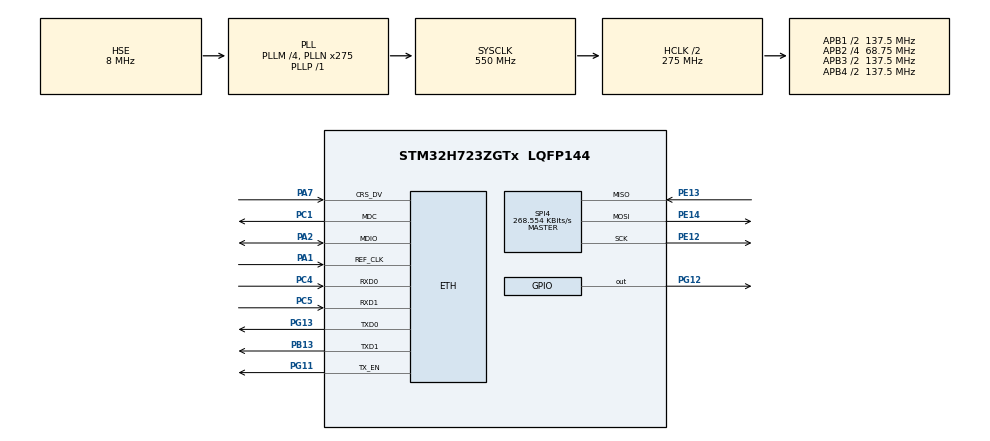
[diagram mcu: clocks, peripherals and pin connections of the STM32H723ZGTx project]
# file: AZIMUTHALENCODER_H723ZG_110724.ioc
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CORTEX_M7.AccessPermission-Cortex_Memory_Protection_Unit_Region1_Settings=MPU_REGION_FULL_ACCESS
CORTEX_M7.AccessPermission-Cortex_Memory_Protection_Unit_Region2_Settings=MPU_REGION_FULL_ACCESS
CORTEX_M7.BaseAddress-Cortex_Memory_Protection_Unit_Region1_Settings=0x30000000
CORTEX_M7.BaseAddress-Cortex_Memory_Protection_Unit_Region2_Settings=0x30000200
CORTEX_M7.CPU_DCache=Enabled
CORTEX_M7.CPU_ICache=Enabled
CORTEX_M7.DisableExec-Cortex_Memory_Protection_Unit_Region0_Settings=MPU_INSTRUCTION_ACCESS_DISABLE
CORTEX_M7.DisableExec-Cortex_Memory_Protection_Unit_Region1_Settings=MPU_INSTRUCTION_ACCESS_DISABLE
CORTEX_M7.DisableExec-Cortex_Memory_Protection_Unit_Region2_Settings=MPU_INSTRUCTION_ACCESS_DISABLE
CORTEX_M7.Enable-Cortex_Memory_Protection_Unit_Region0_Settings=MPU_REGION_ENABLE
CORTEX_M7.Enable-Cortex_Memory_Protection_Unit_Region1_Settings=MPU_REGION_ENABLE
CORTEX_M7.Enable-Cortex_Memory_Protection_Unit_Region2_Settings=MPU_REGION_ENABLE
CORTEX_M7.IsBufferable-Cortex_Memory_Protection_Unit_Region1_Settings=MPU_ACCESS_BUFFERABLE
CORTEX_M7.IsShareable-Cortex_Memory_Protection_Unit_Region0_Settings=MPU_ACCESS_SHAREABLE
CORTEX_M7.IsShareable-Cortex_Memory_Protection_Unit_Region1_Settings=MPU_ACCESS_SHAREABLE
CORTEX_M7.IsShareable-Cortex_Memory_Protection_Unit_Region2_Settings=MPU_ACCESS_NOT_SHAREABLE
CORTEX_M7.MPU_Control=MPU_PRIVILEGED_DEFAULT
CORTEX_M7.Size-Cortex_Memory_Protection_Unit_Region0_Settings=MPU_REGION_SIZE_4GB
CORTEX_M7.Size-Cortex_Memory_Protection_Unit_Region1_Settings=MPU_REGION_SIZE_1KB
CORTEX_M7.Size-Cortex_Memory_Protection_Unit_Region2_Settings=MPU_REGION_SIZE_64KB
CORTEX_M7.SubRegionDisable-Cortex_Memory_Protection_Unit_Region0_Settings=0x87
CORTEX_M7.TypeExtField-Cortex_Memory_Protection_Unit_Region1_Settings=MPU_TEX_LEVEL0
CORTEX_M7.TypeExtField-Cortex_Memory_Protection_Unit_Region2_Settings=MPU_TEX_LEVEL1
Dma.Request0=SPI4_TX
Dma.Request1=SPI4_RX
Dma.SPI4_RX.1.Direction=DMA_PERIPH_TO_MEMORY
Dma.SPI4_RX.1.EventEnable=DISABLE
Dma.SPI4_RX.1.FIFOMode=DMA_FIFOMODE_DISABLE
Dma.SPI4_RX.1.Instance=DMA1_Stream1
Dma.SPI4_RX.1.MemDataAlignment=DMA_MDATAALIGN_HALFWORD
Dma.SPI4_RX.1.MemInc=DMA_MINC_ENABLE
Dma.SPI4_RX.1.Mode=DMA_NORMAL
Dma.SPI4_RX.1.PeriphDataAlignment=DMA_PDATAALIGN_HALFWORD
Dma.SPI4_RX.1.PeriphInc=DMA_PINC_DISABLE
Dma.SPI4_RX.1.Polarity=HAL_DMAMUX_REQ_GEN_RISING
Dma.SPI4_RX.1.Priority=DMA_PRIORITY_VERY_HIGH
Dma.SPI4_RX.1.RequestNumber=1
Dma.SPI4_RX.1.SignalID=NONE
Dma.SPI4_RX.1.SyncEnable=DISABLE
Dma.SPI4_RX.1.SyncPolarity=HAL_DMAMUX_SYNC_NO_EVENT
Dma.SPI4_RX.1.SyncRequestNumber=1
Dma.SPI4_RX.1.SyncSignalID=NONE
Dma.SPI4_TX.0.Direction=DMA_MEMORY_TO_PERIPH
Dma.SPI4_TX.0.EventEnable=DISABLE
Dma.SPI4_TX.0.FIFOMode=DMA_FIFOMODE_DISABLE
Dma.SPI4_TX.0.Instance=DMA1_Stream0
Dma.SPI4_TX.0.MemDataAlignment=DMA_MDATAALIGN_HALFWORD
Dma.SPI4_TX.0.MemInc=DMA_MINC_ENABLE
Dma.SPI4_TX.0.Mode=DMA_NORMAL
Dma.SPI4_TX.0.PeriphDataAlignment=DMA_PDATAALIGN_HALFWORD
Dma.SPI4_TX.0.PeriphInc=DMA_PINC_DISABLE
Dma.SPI4_TX.0.Polarity=HAL_DMAMUX_REQ_GEN_RISING
Dma.SPI4_TX.0.Priority=DMA_PRIORITY_VERY_HIGH
Dma.SPI4_TX.0.RequestNumber=1
Dma.SPI4_TX.0.SignalID=NONE
Dma.SPI4_TX.0.SyncEnable=DISABLE
Dma.SPI4_TX.0.SyncPolarity=HAL_DMAMUX_SYNC_NO_EVENT
Dma.SPI4_TX.0.SyncRequestNumber=1
Dma.SPI4_TX.0.SyncSignalID=NONE
ETH.MediaInterface=HAL_ETH_RMII_MODE
ETH.TxDescAddress=0x30000100
FREERTOS.INCLUDE_vTaskDelayUntil=1
FREERTOS.Tasks01=defaultTask,0,256,StartDefaultTask,Default,NULL,Dynamic,NULL,NULL;ethernetTask,2,256,startEthernetTask,Default,NULL,Dynamic,NULL,NULL
FREERTOS.configUSE_NEWLIB_REENTRANT=1
LWIP.BSP.number=1
LWIP.GATEWAY_ADDRESS=010.020.001.001
LWIP.IP_ADDRESS=010.020.003.002
LWIP.LWIP_DHCP=0
LWIP.LWIP_RAM_HEAP_POINTER=0x30000200
LWIP.MEM_SIZE=32232
LWIP.NETMASK_ADDRESS=255.255.000.000
LWIP.TCP_MSS=1460
LWIP.TCP_SND_BUF=5840
LWIP.TCP_SND_QUEUELEN=16
LWIP.Version=v2.1.2_Cube
LWIP0.BSP.STBoard=false
LWIP0.BSP.api=BSP_COMPONENT_DRIVER
LWIP0.BSP.component=LAN8742
LWIP0.BSP.instance=LAN8742
LWIP0.BSP.name=Driver_PHY
LWIP0.BSP.semaphore=S_LAN8742
LWIP0.BSP.solution=LAN8742
Mcu.Family=STM32H7
Mcu.Name=STM32H723ZGTx
Mcu.Package=LQFP144
NVIC.DMA1_Stream0_IRQn=true\:5\:0\:false\:false\:true\:true\:false\:true\:true
NVIC.DMA1_Stream1_IRQn=true\:5\:0\:false\:false\:true\:true\:false\:true\:true
NVIC.ETH_IRQn=true\:5\:0\:false\:false\:true\:true\:true\:true\:true
NVIC.PriorityGroup=NVIC_PRIORITYGROUP_4
NVIC.SPI4_IRQn=true\:5\:0\:false\:false\:true\:true\:false\:true\:true
NVIC.TIM2_IRQn=true\:0\:0\:false\:false\:true\:false\:true\:true\:true
NVIC.TIM6_DAC_IRQn=true\:15\:0\:false\:false\:true\:false\:false\:true\:true
NVIC.TimeBase=TIM6_DAC_IRQn
NVIC.TimeBaseIP=TIM6
PA1.Mode=RMII
PA1.Signal=ETH_REF_CLK
PA2.Mode=RMII
PA2.Signal=ETH_MDIO
PA7.Mode=RMII
PA7.Signal=ETH_CRS_DV
PB13.Mode=RMII
PB13.Signal=ETH_TXD1
PC1.Mode=RMII
PC1.Signal=ETH_MDC
PC4.Mode=RMII
PC4.Signal=ETH_RXD0
PC5.Mode=RMII
PC5.Signal=ETH_RXD1
PE12.Mode=Full_Duplex_Master
PE12.Signal=SPI4_SCK
PE13.Mode=Full_Duplex_Master
PE13.Signal=SPI4_MISO
PE14.Mode=Full_Duplex_Master
PE14.Signal=SPI4_MOSI
PG11.Mode=RMII
PG11.Signal=ETH_TX_EN
PG12.Signal=GPIO_Output
PG13.Mode=RMII
PG13.Signal=ETH_TXD0
PH0-OSC_IN.Mode=HSE-External-Clock-Source
PH0-OSC_IN.Signal=RCC_OSC_IN
ProjectManager.HeapSize=0x200
ProjectManager.StackSize=0x400
ProjectManager.TargetToolchain=STM32CubeIDE
RCC.ADCFreq_Value=76000000
RCC.APB1Freq_Value=137500000
RCC.APB2Freq_Value=68750000
RCC.APB3Freq_Value=137500000
RCC.APB4Freq_Value=137500000
RCC.CortexFreq_Value=550000000
RCC.D1PPRE=RCC_APB3_DIV2
RCC.D2PPRE1=RCC_APB1_DIV2
RCC.D2PPRE2=RCC_APB2_DIV4
RCC.D3PPRE=RCC_APB4_DIV2
RCC.DIVM1=4
RCC.DIVM2=1
RCC.DIVN1=275
RCC.DIVN2=19
RCC.DIVP1=1
RCC.DIVQ1=4
RCC.HCLKFreq_Value=275000000
RCC.HPRE=RCC_HCLK_DIV2
RCC.HSE_VALUE=8000000
RCC.PLLFRACN=0
RCC.PLLSourceVirtual=RCC_PLLSOURCE_HSE
RCC.SYSCLKFreq_VALUE=550000000
RCC.SYSCLKSource=RCC_SYSCLKSOURCE_PLLCLK
RCC.USBCLockSelection=RCC_USBCLKSOURCE_HSI48
RCC.USBFreq_Value=48000000
SPI4.BaudRatePrescaler=SPI_BAUDRATEPRESCALER_256
SPI4.CLKPhase=SPI_PHASE_2EDGE
SPI4.CalculateBaudRate=268.554 KBits/s
SPI4.DataSize=SPI_DATASIZE_16BIT
SPI4.Direction=SPI_DIRECTION_2LINES
SPI4.MasterKeepIOState=SPI_MASTER_KEEP_IO_STATE_ENABLE
SPI4.Mode=SPI_MODE_MASTER
SPI4.VirtualType=VM_MASTER
TIM1.Channel-Output\ Compare1\ No\ Output=TIM_CHANNEL_1
TIM1.Prescaler=1375-1
TIM2.Channel-PWM\ Generation1\ No\ Output=TIM_CHANNEL_1
TIM2.Period=1000-1
TIM2.Prescaler=275-1
TIM2.TIM_MasterOutputTrigger=TIM_TRGO_RESET
TIM23.Prescaler=275-1
VP_FREERTOS_VS_CMSIS_V1.Mode=CMSIS_V1
VP_LWIP_VS_Enabled.Mode=Enabled
VP_SYS_VS_tim6.Mode=TIM6
VP_TIM1_VS_ClockSourceINT.Mode=Internal
VP_TIM1_VS_no_output1.Mode=Output Compare1 No Output
VP_TIM23_VS_ClockSourceINT.Mode=Internal
VP_TIM2_VS_ClockSourceINT.Mode=Internal
VP_TIM2_VS_no_output1.Mode=PWM Generation1 No Output
board=NUCLEO-H723ZG

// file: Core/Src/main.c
/* USER CODE BEGIN Header */
/**
  ******************************************************************************
  * @file           : main.c
  * @brief          : Main program body
  ******************************************************************************
  * @attention
  *
  * Copyright (c) 2024 STMicroelectronics.
  * All rights reserved.
  *
  * This software is licensed under terms that can be found in the LICENSE file
  * in the root directory of this software component.
  * If no LICENSE file comes with this software, it is provided AS-IS.
  *
  ******************************************************************************
  */
/* USER CODE END Header */
#include "main.h"
#include "cmsis_os.h"
#include "lwip.h"

/* USER CODE BEGIN Includes */
#include "lwip/udp.h"
#include <string.h>
#include <stdbool.h>
//#include "udpClientRAW.h"

/* USER CODE END Includes */

SPI_HandleTypeDef hspi4;
DMA_HandleTypeDef hdma_spi4_tx;
DMA_HandleTypeDef hdma_spi4_rx;

TIM_HandleTypeDef htim1;
TIM_HandleTypeDef htim2;
TIM_HandleTypeDef htim23;

osThreadId defaultTaskHandle;
osThreadId ethernetTaskHandle;
/* USER CODE BEGIN PV */

uint16_t spiData[700];
uint16_t tempBuffer[601]; // 200 for value/value2, 200 for timer5val, 100 for 'f0f0' pattern, 1 for packet number

volatile uint16_t spiIndex = 0;
volatile uint32_t sampleNum = 0;

uint16_t txBuffer[3] = {0b1010101010101010, 0b1010101010101010, 0b1010101010111111};
uint16_t rxBuffer[3];

volatile uint16_t value;
volatile uint16_t value2;
volatile uint32_t timer23val;

/* USER CODE END PV */

void SystemClock_Config(void);
static void MPU_Config(void);
static void MX_GPIO_Init(void);
static void MX_DMA_Init(void);
static void MX_TIM2_Init(void);
static void MX_SPI4_Init(void);
static void MX_TIM23_Init(void);
static void MX_TIM1_Init(void);
void StartDefaultTask(void const * argument);
void startEthernetTask(void const * argument);

int main(void)
{

  /* MPU Configuration--------------------------------------------------------*/
  MPU_Config();

  /* Enable the CPU Cache */

  /* Enable I-Cache---------------------------------------------------------*/
  SCB_EnableICache();

  /* Enable D-Cache---------------------------------------------------------*/
  SCB_EnableDCache();

  /* MCU Configuration--------------------------------------------------------*/

  /* Reset of all peripherals, Initializes the Flash interface and the Systick. */
  HAL_Init();

  /* Configure the system clock */
  SystemClock_Config();

  /* Initialize all configured peripherals */
  MX_GPIO_Init();
  MX_DMA_Init();
  MX_TIM2_Init();
  MX_SPI4_Init();
  MX_TIM23_Init();
  MX_TIM1_Init();
  /* USER CODE BEGIN 2 */

  //connect to UDP socket on computer
//  udpClient_connect();

  //start Timer 1 and 2
//  HAL_TIM_Base_Start_IT(&htim2);

  /* USER CODE END 2 */

  /* Create the thread(s) */
  /* definition and creation of defaultTask */
  osThreadDef(defaultTask, StartDefaultTask, osPriorityNormal, 0, 256);
  defaultTaskHandle = osThreadCreate(osThread(defaultTask), NULL);

  /* definition and creation of ethernetTask */
  osThreadDef(ethernetTask, startEthernetTask, osPriorityHigh, 0, 256);
  ethernetTaskHandle = osThreadCreate(osThread(ethernetTask), NULL);

  /* Start scheduler */
  osKernelStart();

  /* We should never get here as control is now taken by the scheduler */

  /* Infinite loop */
  while (1)
  {

  }
}

void SystemClock_Config(void)
{
  RCC_OscInitTypeDef RCC_OscInitStruct = {0};
  RCC_ClkInitTypeDef RCC_ClkInitStruct = {0};

  /** Supply configuration update enable
  */
  HAL_PWREx_ConfigSupply(PWR_LDO_SUPPLY);

  /** Configure the main internal regulator output voltage
  */
  __HAL_PWR_VOLTAGESCALING_CONFIG(PWR_REGULATOR_VOLTAGE_SCALE0);

  while(!__HAL_PWR_GET_FLAG(PWR_FLAG_VOSRDY)) {}

  /** Initializes the RCC Oscillators according to the specified parameters
  * in the RCC_OscInitTypeDef structure.
  */
  RCC_OscInitStruct.OscillatorType = RCC_OSCILLATORTYPE_HSE;
  RCC_OscInitStruct.HSEState = RCC_HSE_BYPASS;
  RCC_OscInitStruct.PLL.PLLState = RCC_PLL_ON;
  RCC_OscInitStruct.PLL.PLLSource = RCC_PLLSOURCE_HSE;
  RCC_OscInitStruct.PLL.PLLM = 4;
  RCC_OscInitStruct.PLL.PLLN = 275;
  RCC_OscInitStruct.PLL.PLLP = 1;
  RCC_OscInitStruct.PLL.PLLQ = 4;
  RCC_OscInitStruct.PLL.PLLR = 2;
  RCC_OscInitStruct.PLL.PLLRGE = RCC_PLL1VCIRANGE_1;
  RCC_OscInitStruct.PLL.PLLVCOSEL = RCC_PLL1VCOWIDE;
  RCC_OscInitStruct.PLL.PLLFRACN = 0;
  if (HAL_RCC_OscConfig(&RCC_OscInitStruct) != HAL_OK)
  {
    Error_Handler();
  }

  /** Initializes the CPU, AHB and APB buses clocks
  */
  RCC_ClkInitStruct.ClockType = RCC_CLOCKTYPE_HCLK|RCC_CLOCKTYPE_SYSCLK
                              |RCC_CLOCKTYPE_PCLK1|RCC_CLOCKTYPE_PCLK2
                              |RCC_CLOCKTYPE_D3PCLK1|RCC_CLOCKTYPE_D1PCLK1;
  RCC_ClkInitStruct.SYSCLKSource = RCC_SYSCLKSOURCE_PLLCLK;
  RCC_ClkInitStruct.SYSCLKDivider = RCC_SYSCLK_DIV1;
  RCC_ClkInitStruct.AHBCLKDivider = RCC_HCLK_DIV2;
  RCC_ClkInitStruct.APB3CLKDivider = RCC_APB3_DIV2;
  RCC_ClkInitStruct.APB1CLKDivider = RCC_APB1_DIV2;
  RCC_ClkInitStruct.APB2CLKDivider = RCC_APB2_DIV4;
  RCC_ClkInitStruct.APB4CLKDivider = RCC_APB4_DIV2;

  if (HAL_RCC_ClockConfig(&RCC_ClkInitStruct, FLASH_LATENCY_3) != HAL_OK)
  {
    Error_Handler();
  }
}

static void MX_SPI4_Init(void)
{

  /* SPI4 parameter configuration*/
  hspi4.Instance = SPI4;
  hspi4.Init.Mode = SPI_MODE_MASTER;
  hspi4.Init.Direction = SPI_DIRECTION_2LINES;
  hspi4.Init.DataSize = SPI_DATASIZE_16BIT;
  hspi4.Init.CLKPolarity = SPI_POLARITY_LOW;
  hspi4.Init.CLKPhase = SPI_PHASE_2EDGE;
  hspi4.Init.NSS = SPI_NSS_SOFT;
  hspi4.Init.BaudRatePrescaler = SPI_BAUDRATEPRESCALER_256;
  hspi4.Init.FirstBit = SPI_FIRSTBIT_MSB;
  hspi4.Init.TIMode = SPI_TIMODE_DISABLE;
  hspi4.Init.CRCCalculation = SPI_CRCCALCULATION_DISABLE;
  hspi4.Init.CRCPolynomial = 0x0;
  hspi4.Init.NSSPMode = SPI_NSS_PULSE_ENABLE;
  hspi4.Init.NSSPolarity = SPI_NSS_POLARITY_LOW;
  hspi4.Init.FifoThreshold = SPI_FIFO_THRESHOLD_01DATA;
  hspi4.Init.TxCRCInitializationPattern = SPI_CRC_INITIALIZATION_ALL_ZERO_PATTERN;
  hspi4.Init.RxCRCInitializationPattern = SPI_CRC_INITIALIZATION_ALL_ZERO_PATTERN;
  hspi4.Init.MasterSSIdleness = SPI_MASTER_SS_IDLENESS_00CYCLE;
  hspi4.Init.MasterInterDataIdleness = SPI_MASTER_INTERDATA_IDLENESS_00CYCLE;
  hspi4.Init.MasterReceiverAutoSusp = SPI_MASTER_RX_AUTOSUSP_DISABLE;
  hspi4.Init.MasterKeepIOState = SPI_MASTER_KEEP_IO_STATE_ENABLE;
  hspi4.Init.IOSwap = SPI_IO_SWAP_DISABLE;
  if (HAL_SPI_Init(&hspi4) != HAL_OK)
  {
    Error_Handler();
  }

}

static void MX_TIM1_Init(void)
{

  TIM_ClockConfigTypeDef sClockSourceConfig = {0};
  TIM_MasterConfigTypeDef sMasterConfig = {0};
  TIM_OC_InitTypeDef sConfigOC = {0};
  TIM_BreakDeadTimeConfigTypeDef sBreakDeadTimeConfig = {0};

  htim1.Instance = TIM1;
  htim1.Init.Prescaler = 1375-1;
  htim1.Init.CounterMode = TIM_COUNTERMODE_UP;
  htim1.Init.Period = 65535;
  htim1.Init.ClockDivision = TIM_CLOCKDIVISION_DIV1;
  htim1.Init.RepetitionCounter = 0;
  htim1.Init.AutoReloadPreload = TIM_AUTORELOAD_PRELOAD_DISABLE;
  if (HAL_TIM_Base_Init(&htim1) != HAL_OK)
  {
    Error_Handler();
  }
  sClockSourceConfig.ClockSource = TIM_CLOCKSOURCE_INTERNAL;
  if (HAL_TIM_ConfigClockSource(&htim1, &sClockSourceConfig) != HAL_OK)
  {
    Error_Handler();
  }
  if (HAL_TIM_OC_Init(&htim1) != HAL_OK)
  {
    Error_Handler();
  }
  sMasterConfig.MasterOutputTrigger = TIM_TRGO_RESET;
  sMasterConfig.MasterOutputTrigger2 = TIM_TRGO2_RESET;
  sMasterConfig.MasterSlaveMode = TIM_MASTERSLAVEMODE_DISABLE;
  if (HAL_TIMEx_MasterConfigSynchronization(&htim1, &sMasterConfig) != HAL_OK)
  {
    Error_Handler();
  }
  sConfigOC.OCMode = TIM_OCMODE_TIMING;
  sConfigOC.Pulse = 0;
  sConfigOC.OCPolarity = TIM_OCPOLARITY_HIGH;
  sConfigOC.OCNPolarity = TIM_OCNPOLARITY_HIGH;
  sConfigOC.OCFastMode = TIM_OCFAST_DISABLE;
  sConfigOC.OCIdleState = TIM_OCIDLESTATE_RESET;
  sConfigOC.OCNIdleState = TIM_OCNIDLESTATE_RESET;
  if (HAL_TIM_OC_ConfigChannel(&htim1, &sConfigOC, TIM_CHANNEL_1) != HAL_OK)
  {
    Error_Handler();
  }
  sBreakDeadTimeConfig.OffStateRunMode = TIM_OSSR_DISABLE;
  sBreakDeadTimeConfig.OffStateIDLEMode = TIM_OSSI_DISABLE;
  sBreakDeadTimeConfig.LockLevel = TIM_LOCKLEVEL_OFF;
  sBreakDeadTimeConfig.DeadTime = 0;
  sBreakDeadTimeConfig.BreakState = TIM_BREAK_DISABLE;
  sBreakDeadTimeConfig.BreakPolarity = TIM_BREAKPOLARITY_HIGH;
  sBreakDeadTimeConfig.BreakFilter = 0;
  sBreakDeadTimeConfig.Break2State = TIM_BREAK2_DISABLE;
  sBreakDeadTimeConfig.Break2Polarity = TIM_BREAK2POLARITY_HIGH;
  sBreakDeadTimeConfig.Break2Filter = 0;
  sBreakDeadTimeConfig.AutomaticOutput = TIM_AUTOMATICOUTPUT_DISABLE;
  if (HAL_TIMEx_ConfigBreakDeadTime(&htim1, &sBreakDeadTimeConfig) != HAL_OK)
  {
    Error_Handler();
  }

}

static void MX_TIM2_Init(void)
{

  TIM_ClockConfigTypeDef sClockSourceConfig = {0};
  TIM_MasterConfigTypeDef sMasterConfig = {0};
  TIM_OC_InitTypeDef sConfigOC = {0};

  htim2.Instance = TIM2;
  htim2.Init.Prescaler = 275-1;
  htim2.Init.CounterMode = TIM_COUNTERMODE_UP;
  htim2.Init.Period = 1000-1;
  htim2.Init.ClockDivision = TIM_CLOCKDIVISION_DIV1;
  htim2.Init.AutoReloadPreload = TIM_AUTORELOAD_PRELOAD_DISABLE;
  if (HAL_TIM_Base_Init(&htim2) != HAL_OK)
  {
    Error_Handler();
  }
  sClockSourceConfig.ClockSource = TIM_CLOCKSOURCE_INTERNAL;
  if (HAL_TIM_ConfigClockSource(&htim2, &sClockSourceConfig) != HAL_OK)
  {
    Error_Handler();
  }
  if (HAL_TIM_PWM_Init(&htim2) != HAL_OK)
  {
    Error_Handler();
  }
  sMasterConfig.MasterOutputTrigger = TIM_TRGO_RESET;
  sMasterConfig.MasterSlaveMode = TIM_MASTERSLAVEMODE_DISABLE;
  if (HAL_TIMEx_MasterConfigSynchronization(&htim2, &sMasterConfig) != HAL_OK)
  {
    Error_Handler();
  }
  sConfigOC.OCMode = TIM_OCMODE_PWM1;
  sConfigOC.Pulse = 0;
  sConfigOC.OCPolarity = TIM_OCPOLARITY_HIGH;
  sConfigOC.OCFastMode = TIM_OCFAST_DISABLE;
  if (HAL_TIM_PWM_ConfigChannel(&htim2, &sConfigOC, TIM_CHANNEL_1) != HAL_OK)
  {
    Error_Handler();
  }

}

static void MX_TIM23_Init(void)
{

  TIM_ClockConfigTypeDef sClockSourceConfig = {0};
  TIM_MasterConfigTypeDef sMasterConfig = {0};

  htim23.Instance = TIM23;
  htim23.Init.Prescaler = 275-1;
  htim23.Init.CounterMode = TIM_COUNTERMODE_UP;
  htim23.Init.Period = 4294967295;
  htim23.Init.ClockDivision = TIM_CLOCKDIVISION_DIV1;
  htim23.Init.AutoReloadPreload = TIM_AUTORELOAD_PRELOAD_DISABLE;
  if (HAL_TIM_Base_Init(&htim23) != HAL_OK)
  {
    Error_Handler();
  }
  sClockSourceConfig.ClockSource = TIM_CLOCKSOURCE_INTERNAL;
  if (HAL_TIM_ConfigClockSource(&htim23, &sClockSourceConfig) != HAL_OK)
  {
    Error_Handler();
  }
  sMasterConfig.MasterOutputTrigger = TIM_TRGO_RESET;
  sMasterConfig.MasterSlaveMode = TIM_MASTERSLAVEMODE_DISABLE;
  if (HAL_TIMEx_MasterConfigSynchronization(&htim23, &sMasterConfig) != HAL_OK)
  {
    Error_Handler();
  }

}

static void MX_DMA_Init(void)
{

  /* DMA controller clock enable */
  __HAL_RCC_DMA1_CLK_ENABLE();

  /* DMA interrupt init */
  /* DMA1_Stream0_IRQn interrupt configuration */
  HAL_NVIC_SetPriority(DMA1_Stream0_IRQn, 5, 0);
  HAL_NVIC_EnableIRQ(DMA1_Stream0_IRQn);
  /* DMA1_Stream1_IRQn interrupt configuration */
  HAL_NVIC_SetPriority(DMA1_Stream1_IRQn, 5, 0);
  HAL_NVIC_EnableIRQ(DMA1_Stream1_IRQn);

}

static void MX_GPIO_Init(void)
{
  GPIO_InitTypeDef GPIO_InitStruct = {0};

  /* GPIO Ports Clock Enable */
  __HAL_RCC_GPIOH_CLK_ENABLE();
  __HAL_RCC_GPIOC_CLK_ENABLE();
  __HAL_RCC_GPIOA_CLK_ENABLE();
  __HAL_RCC_GPIOE_CLK_ENABLE();
  __HAL_RCC_GPIOB_CLK_ENABLE();
  __HAL_RCC_GPIOG_CLK_ENABLE();

  /*Configure GPIO pin Output Level */
  HAL_GPIO_WritePin(GPIOG, GPIO_PIN_12, GPIO_PIN_RESET);

  /*Configure GPIO pin : PG12 */
  GPIO_InitStruct.Pin = GPIO_PIN_12;
  GPIO_InitStruct.Mode = GPIO_MODE_OUTPUT_PP;
  GPIO_InitStruct.Pull = GPIO_NOPULL;
  GPIO_InitStruct.Speed = GPIO_SPEED_FREQ_LOW;
  HAL_GPIO_Init(GPIOG, &GPIO_InitStruct);

}

/* USER CODE BEGIN 4 */

void HAL_SPI_TxRxCpltCallback(SPI_HandleTypeDef *hspi)
{
	if (hspi->Instance == SPI4) {

		// For 16 bit value
		value = ( ((rxBuffer[0] & 0b0001000000000000) << 3) +
				  ((rxBuffer[0] & 0b0000010000000000) << 4) +
				  ((rxBuffer[0] & 0b0000000100000000) << 5)+
				  ((rxBuffer[0] & 0b0000000001000000) << 6)+
				  ((rxBuffer[0] & 0b0000000000010000) << 7)+
				  ((rxBuffer[0] & 0b0000000000000100) << 8)+
				  ((rxBuffer[0] & 0b0000000000000001) << 9)+
				  ((rxBuffer[1] & 0b0100000000000000) >> 6) +
				  ((rxBuffer[1] & 0b0001000000000000) >> 5) +
				  ((rxBuffer[1] & 0b0000010000000000) >> 4) +
				  ((rxBuffer[1] & 0b0000000100000000) >> 3) +
				  ((rxBuffer[1] & 0b0000000001000000) >> 2) +
				  ((rxBuffer[1] & 0b0000000000010000) >> 1) +
				  ((rxBuffer[1] & 0b0000000000000100)     ) +
				  ((rxBuffer[1] & 0b0000000000000001) << 1) +
				  ((rxBuffer[2] & 0b0100000000000000) >> 14));

		// Last 4 bits
		value2 = (((rxBuffer[2] & 0b0001000000000000) >> 9) +
				  ((rxBuffer[2] & 0b0000010000000000) >> 8) +
				  ((rxBuffer[2] & 0b0000000100000000) >> 7) +
				  ((rxBuffer[2] & 0b0000000001000000) >> 6));

		// Note: Optional to read the last bits. They should be 0s to ensure no short circuit

		spiData[spiIndex] = value; // first 16 bits
		spiData[spiIndex + 1] = value2; // last 4 bits
		spiData[spiIndex + 2] = (timer23val & 0xFFFF); // 32 bit clock tick
		spiData[spiIndex + 3] = ((timer23val >> 16) & 0xFFFF); // 32 bit clock tick
		spiData[spiIndex + 4] = 0xAB89; // 16 bit spacer
		spiData[spiIndex + 5] = 0xEFCD; // 16 bit spacer (two are necessary due to timer23val being 32 bit -- all 16 bit values are eventually covered)

		spiIndex = spiIndex + 6;

		if (spiIndex >= 700) {
			spiIndex = 0; // TODO find better solution than re-wrapping -- should stop taking data and alert
		}

		else if (spiIndex == 600) {
			spiData[spiIndex] = sampleNum;
			sampleNum++;
			spiIndex++;

			BaseType_t xHigherPriorityTaskWoken = pdFALSE;
			vTaskNotifyGiveFromISR(ethernetTaskHandle, &xHigherPriorityTaskWoken); // function will set xHigherPriorityTaskWoken to pdTRUE if the unblocked task (ethernetTaskHandle) has a higher priority than the currently running task. Also unblocks task
			portYIELD_FROM_ISR(xHigherPriorityTaskWoken); // if xHigherPriorityTaskWoken is pdTURE, scheduler will switch to the ethernetTaskHandle task as soon as the ISR completes. Otherwise, currently running task will continue to run after ISR completes
		}
	}
}

/* USER CODE END 4 */

void StartDefaultTask(void const * argument)
{
  /* init code for LWIP */
  for(;;)
  {
    osDelay(1);
  }
}

void startEthernetTask(void const * argument)
{
  /* USER CODE BEGIN startEthernetTask */
	MX_LWIP_Init();

	osDelay(100); // let LWIP be initialized

	// Own IP
	ip_addr_t myIPaddr;
	IP_ADDR4(&myIPaddr, 10, 20, 3, 2);

	// Computer IP
	ip_addr_t PC_IPADDR;
	IP_ADDR4(&PC_IPADDR, 10, 20, 1, 3);

	struct udp_pcb* my_udp = udp_new();
	udp_bind(my_udp, &myIPaddr, 8);
	udp_connect(my_udp, &PC_IPADDR, 55151);
	struct pbuf* udp_buffer = NULL;

	// Set PG12 to high to select 'transmit' on Arduino RS422 shield
	HAL_GPIO_WritePin(GPIOG, GPIO_PIN_12, 1);

	/* Start Timer 5 */
	HAL_TIM_Base_Start(&htim23);
	HAL_TIM_Base_Start(&htim1);

	// Start Timer 2 with 1ms interrupts
	HAL_TIM_Base_Start_IT(&htim2);

	for(;;)
	{
	  // Wait for the notification to send data
	  ulTaskNotifyTake(pdTRUE, portMAX_DELAY);

	  // Copy samples from spiData to tempBuffer
	  memcpy(tempBuffer, spiData, sizeof(tempBuffer));

	  // Send the data over Ethernet
	  udp_buffer = pbuf_alloc(PBUF_TRANSPORT, sizeof(tempBuffer), PBUF_RAM);
	  if (udp_buffer != NULL)
	  {
		  memcpy(udp_buffer->payload, tempBuffer, sizeof(tempBuffer));
		  udp_send(my_udp, udp_buffer);
		  pbuf_free(udp_buffer);
	  }

	  // Shift the remaining samples up in the spiData buffer (pointer to dest, pointer to source, number of bytes)
	  memmove(spiData, &spiData[601], sizeof(spiData) - sizeof(tempBuffer));

	  // Update spiIndex to reflect the new starting position
	  spiIndex -= 601;

	}
  /* USER CODE END startEthernetTask */
}

 /* MPU Configuration */

void MPU_Config(void)
{
  MPU_Region_InitTypeDef MPU_InitStruct = {0};

  /* Disables the MPU */
  HAL_MPU_Disable();

  /** Initializes and configures the Region and the memory to be protected
  */
  MPU_InitStruct.Enable = MPU_REGION_ENABLE;
  MPU_InitStruct.Number = MPU_REGION_NUMBER0;
  MPU_InitStruct.BaseAddress = 0x0;
  MPU_InitStruct.Size = MPU_REGION_SIZE_4GB;
  MPU_InitStruct.SubRegionDisable = 0x87;
  MPU_InitStruct.TypeExtField = MPU_TEX_LEVEL0;
  MPU_InitStruct.AccessPermission = MPU_REGION_NO_ACCESS;
  MPU_InitStruct.DisableExec = MPU_INSTRUCTION_ACCESS_DISABLE;
  MPU_InitStruct.IsShareable = MPU_ACCESS_SHAREABLE;
  MPU_InitStruct.IsCacheable = MPU_ACCESS_NOT_CACHEABLE;
  MPU_InitStruct.IsBufferable = MPU_ACCESS_NOT_BUFFERABLE;

  HAL_MPU_ConfigRegion(&MPU_InitStruct);

  /** Initializes and configures the Region and the memory to be protected
  */
  MPU_InitStruct.Number = MPU_REGION_NUMBER1;
  MPU_InitStruct.BaseAddress = 0x30000000;
  MPU_InitStruct.Size = MPU_REGION_SIZE_1KB;
  MPU_InitStruct.SubRegionDisable = 0x0;
  MPU_InitStruct.AccessPermission = MPU_REGION_FULL_ACCESS;
  MPU_InitStruct.IsBufferable = MPU_ACCESS_BUFFERABLE;

  HAL_MPU_ConfigRegion(&MPU_InitStruct);

  /** Initializes and configures the Region and the memory to be protected
  */
  MPU_InitStruct.Number = MPU_REGION_NUMBER2;
  MPU_InitStruct.BaseAddress = 0x30000200;
  MPU_InitStruct.Size = MPU_REGION_SIZE_64KB;
  MPU_InitStruct.TypeExtField = MPU_TEX_LEVEL1;
  MPU_InitStruct.IsShareable = MPU_ACCESS_NOT_SHAREABLE;
  MPU_InitStruct.IsBufferable = MPU_ACCESS_NOT_BUFFERABLE;

  HAL_MPU_ConfigRegion(&MPU_InitStruct);
  /* Enables the MPU */
  HAL_MPU_Enable(MPU_PRIVILEGED_DEFAULT);

}

void HAL_TIM_PeriodElapsedCallback(TIM_HandleTypeDef *htim)
{
  if (htim->Instance == TIM6) {
    HAL_IncTick();
  }
  /* USER CODE BEGIN Callback 1 */

  if (htim->Instance == TIM2) {
	  HAL_SPI_TransmitReceive_IT(&hspi4, (uint8_t *)txBuffer, (uint8_t *)rxBuffer, 3);
	  timer23val = __HAL_TIM_GET_COUNTER(&htim23);
  }

  /* USER CODE END Callback 1 */
}

void Error_Handler(void)
{
  __disable_irq();
  while (1)
  {
  }
}
